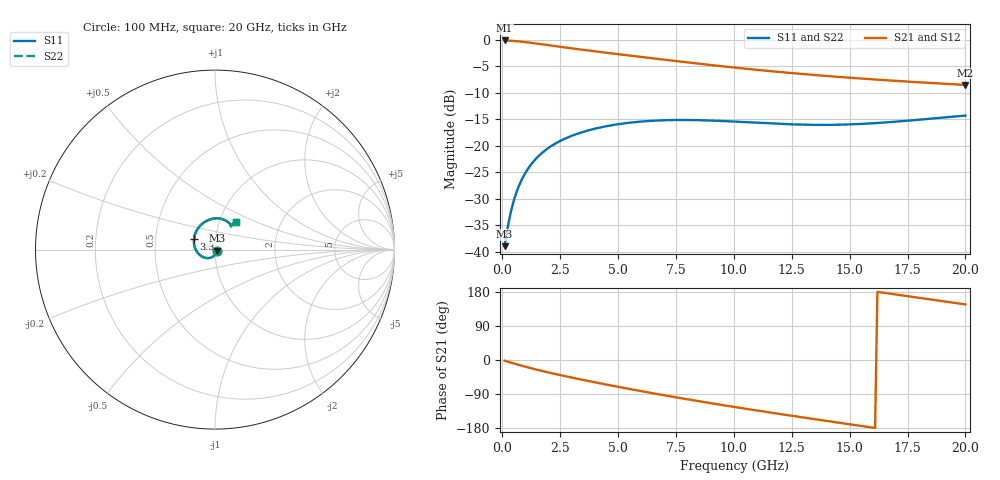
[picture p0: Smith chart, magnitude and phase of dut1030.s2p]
! Touchstone file exported from HFSS 2024.1.0
!  File:  C:/UserFiles/LocalFiles/RDL_TSV_Batchsim/temp_RDL_TSV_1030_1780083765.aedt
!  Generated:  03:54:15 AM May 30, 2026
!  Design:  RDL_TSV
!  Project:  temp_RDL_TSV_1030_1780083765
!  Setup:  Setup1
!  Solution:  Sweep
! Variables:
!  dtsv = 14.97um
!  hbump = 3um
!  htsv = 66.19um
!  ldown = 651.75um
!  lrdl = 315.06um
!  p = 40
!  p1 = 40.58um
!  rhole = 10um
!  subl = 3215.49um
!  t = 450um
!  tdown = 4.96um
!  trdl = 4.68um
!  viad = 10um
!  wdown = 25.92um
!  wrdl = 25.14um
!  xbump = 18um
# GHz S MA R 50.000000
! Terminal data exported
! Port[1] = TM1_1_T1
! Port[2] = TM1_4_T1
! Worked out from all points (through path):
!   200 points, 100 MHz to 20 GHz, reference 50 ohm
!   highest |S21| = -0.09 dB at 100 MHz (marker M1); lowest = -8.5 dB at 20 GHz (marker M2)
!   group delay of S21, straight-line fit = 28.3 ps
!   lowest |S11| = -39.0 dB at 100 MHz (marker M3), VSWR 1.02, Z = 51 - j0.547 ohm
!   |S11| at or under -10 dB: start of sweep to end of sweep
!   |S22| runs from -39.0 to -14.3 dB; largest |S21 - S12| = 2.2e-14
!   S11 on the Smith chart (normalised r, x): 100 MHz: 1.02, -0.01; 3.3 GHz: 0.79, +0.09; 20 GHz: 1.19, +0.38
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0.1  0.01125 -28.5  0.9892 -1.9  0.9892 -1.9  0.01125 -28.5
! Gamma 0 0 0 0
! Port Impedance 50 0 50 0
0.3  0.02015 -71.3  0.9843 -5.6  0.9843 -5.6  0.02023 -72.5
0.5  0.03049 -91.8  0.9778 -9.2  0.9778 -9.2  0.03071 -92.4
0.6  0.03569 -99.5  0.9739 -10.9  0.9739 -10.9  0.03592 -99.8
0.8  0.04586 -112.3  0.9647 -14.4  0.9647 -14.4  0.04605 -112.5
1.1  0.06019 -128.5  0.9484 -19.4  0.9484 -19.4  0.0603 -128.5
1.5  0.07731 -146.9  0.9236 -25.7  0.9236 -25.7  0.07734 -146.9
2  0.09564 -166.6  0.8916 -33.0  0.8916 -33.0  0.0956 -166.6
2.6  0.1139 173.3  0.8551 -41.2  0.8551 -41.2  0.1138 173.3
3.3  0.1311 153.6  0.8162 -50.2  0.8162 -50.2  0.1309 153.6
3.5  0.1354 148.5  0.8058 -52.7  0.8058 -52.7  0.1352 148.6
4.3  0.15 130.7  0.7664 -62.5  0.7664 -62.5  0.1498 130.7
5.1  0.161 115.7  0.7298 -71.9  0.7298 -71.9  0.1607 115.7
5.9  0.1687 103.1  0.6952 -81.1  0.6952 -81.1  0.1683 103.1
6.8  0.1736 91.1  0.6586 -91.0  0.6586 -91.0  0.1732 91.2
8.4  0.1747 75.0  0.5997 -107.9  0.5997 -107.9  0.1742 75.0
10.1  0.169 63.7  0.5462 -124.7  0.5462 -124.7  0.1685 63.7
11.7  0.1621 57.8  0.5044 -139.8  0.5044 -139.8  0.1617 57.9
13.4  0.1578 55.5  0.4679 -155.3  0.4679 -155.3  0.1574 55.6
15  0.1592 55.4  0.4396 -169.6  0.4396 -169.6  0.1589 55.5
16.7  0.167 55.7  0.4145 175.4  0.4145 175.4  0.1668 55.8
20  0.1929 53.2  0.3761 146.8  0.3761 146.8  0.1928 53.3
